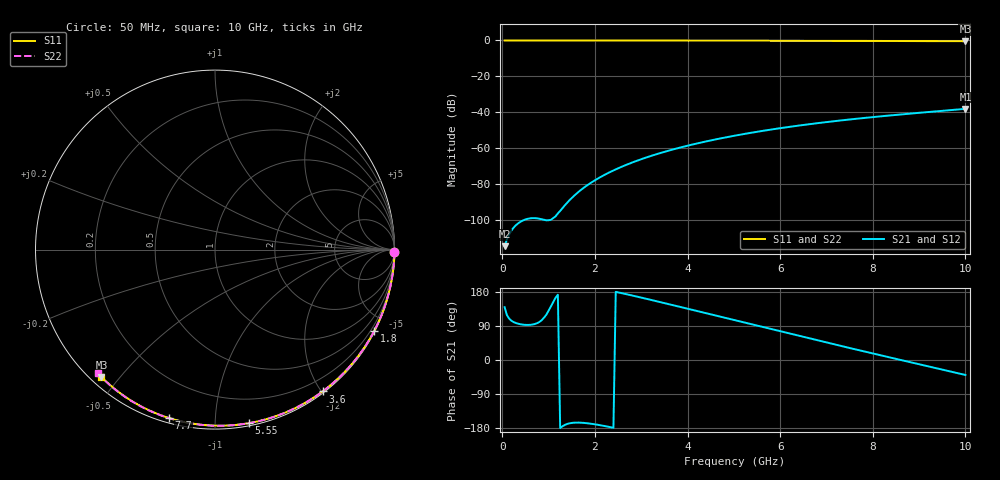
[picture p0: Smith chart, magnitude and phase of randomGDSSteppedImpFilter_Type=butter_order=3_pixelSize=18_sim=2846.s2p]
! freq	dB(S11)	phase(S11)	dB(S12)	phase(S12)
!  dB(S21)	phase(S21)	dB(S22)	phase(S22)
!S-par simulation data
#  GHz  S  DB  R 50
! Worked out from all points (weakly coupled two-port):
!   200 points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, 50 MHz to 10 GHz, reference 50 ohm
!   highest |S21| = -38.13 dB at 10 GHz (marker M1); lowest = -114.7 dB at 50 MHz (marker M2)
!   lowest |S11| = -0.4 dB at 10 GHz (marker M3), VSWR 39.46, Z = 1.52 - j22.4 ohm
!   |S11| at or under -10 dB: nowhere
!   |S22| runs from -0.4 to 0.0 dB; largest |S21 - S12| = 0
!   S11 on the Smith chart (normalised r, x): 50 MHz: open; 1.8 GHz: 0.04, -4.16; 3.6 GHz: 0.02, -2.01; 5.55 GHz: 0.02, -1.22; 7.7 GHz: 0.02, -0.76; 10 GHz: 0.03, -0.45
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0.05  -0.00 -0.8  -114.69 139.4  -114.69 139.4  -0.00 -0.8
0.9  -0.02 -13.6  -100.02 111.7  -100.02 111.7  -0.02 -13.8
1.75  -0.03 -26.3  -82.30 -165.9  -82.30 -165.9  -0.03 -26.6
1.8  -0.03 -27.0  -81.35 -166.4  -81.35 -166.4  -0.03 -27.3
1.85  -0.04 -27.7  -80.45 -167.1  -80.45 -167.1  -0.04 -28.1
1.9  -0.04 -28.5  -79.59 -167.9  -79.59 -167.9  -0.04 -28.8
2.05  -0.04 -30.7  -77.19 -170.7  -77.19 -170.7  -0.04 -31.0
2.25  -0.04 -33.6  -74.36 -175.2  -74.36 -175.2  -0.04 -34.0
2.45  -0.05 -36.5  -71.87 179.8  -71.87 179.8  -0.05 -36.9
2.65  -0.05 -39.4  -69.63 174.5  -69.63 174.5  -0.05 -39.8
3  -0.06 -44.4  -66.21 164.7  -66.21 164.7  -0.06 -44.9
3.4  -0.07 -50.0  -62.86 153.1  -62.86 153.1  -0.07 -50.6
3.6  -0.07 -52.8  -61.37 147.2  -61.37 147.2  -0.07 -53.4
4.3  -0.09 -62.4  -56.86 126.4  -56.86 126.4  -0.09 -63.1
5.05  -0.11 -72.4  -52.94 104.1  -52.94 104.1  -0.11 -73.2
5.55  -0.13 -78.9  -50.71 89.2  -50.71 89.2  -0.13 -79.8
6.1  -0.15 -85.8  -48.54 72.8  -48.54 72.8  -0.15 -86.8
6.7  -0.18 -93.3  -46.45 55.1  -46.45 55.1  -0.18 -94.4
7.7  -0.24 -105.3  -43.51 25.9  -43.51 25.9  -0.24 -106.5
8.35  -0.29 -112.9  -41.86 7.3  -41.86 7.3  -0.29 -114.3
9.15  -0.36 -122.1  -40.01 -15.3  -40.01 -15.3  -0.36 -123.6
10  -0.44 -131.7  -38.13 -39.5  -38.13 -39.5  -0.45 -133.4
